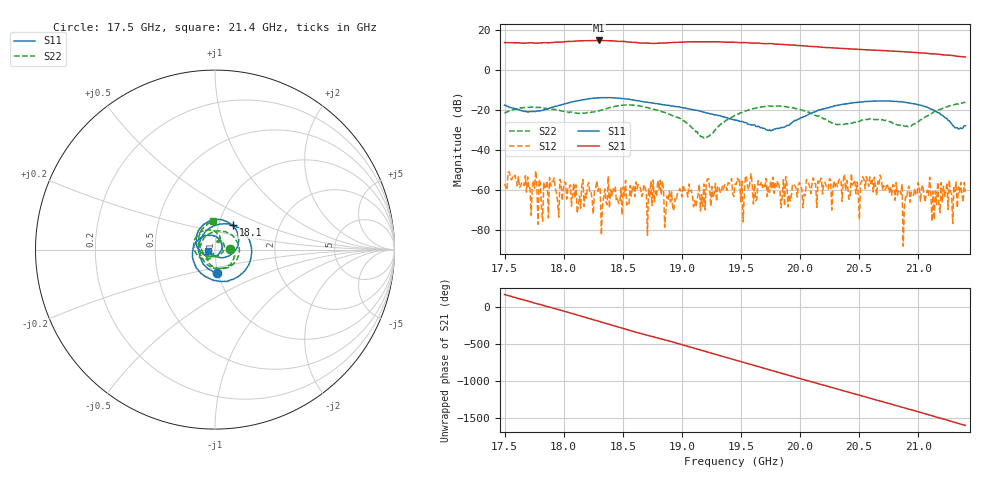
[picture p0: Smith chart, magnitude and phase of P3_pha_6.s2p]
!Created with skrf (http://scikit-rf.org).
# GHz S RI R 50.0
!freq ReS11 ImS11 ReS21 ImS21 ReS12 ImS12 ReS22 ImS22
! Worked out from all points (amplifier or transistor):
!   401 points, 17.5 GHz to 21.4 GHz, reference 50 ohm
!   highest |S21| = 14.9 dB at 18.3 GHz (marker M1)
!   |S21| within 3 dB of that: start of sweep to 20.1 GHz
!   unconditionally stable (mu >= 1): start of sweep to end of sweep
!   at 18.14 GHz: K = 252.03, MAG = 14.9 dB, |S12| = -69.1 dB
!   at 19.45 GHz: K = 69.36, MAG = 14.0 dB, |S12| = -56.9 dB
!   at 21.4 GHz: K = 248.79, MAG = 6.7 dB, |S12| = -60.8 dB
!   S11 on the Smith chart (normalised r, x): 17.5 GHz: 0.99, -0.27; 18.1 GHz: 1.17, +0.33; 21.4 GHz: 0.92, -0.01
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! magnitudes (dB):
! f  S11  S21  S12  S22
! 17.5 GHz  -17.5  13.8  -56.8  -21.6
! 17.75 GHz  -20.7  13.6  -59.0  -18.4
! 17.8 GHz  -20.3  13.7  -56.7  -18.6
! 17.9 GHz  -18.6  13.8  -55.7  -19.5
! 17.94 GHz  -18.0  14.0  -61.5  -19.9
! 18.1 GHz  -15.5  14.6  -57.4  -21.4
! 18.15 GHz  -14.9  14.7  -57.8  -21.5
! 18.3 GHz  -13.8  14.9  -58.5  -20.3
! 18.63 GHz  -15.3  13.7  -57.2  -17.8
! 18.73 GHz  -16.2  13.4  -63.3  -19.1
! 18.81 GHz  -17.0  13.6  -59.6  -20.4
! 18.86 GHz  -17.4  13.6  -70.5  -21.3
! 19.19 GHz  -21.0  14.3  -56.9  -33.9
! 19.45 GHz  -24.8  14.0  -56.9  -22.5
! 19.75 GHz  -30.3  13.3  -55.4  -18.0
! 19.92 GHz  -26.7  12.7  -65.5  -18.5
! 20.1 GHz  -21.3  11.9  -55.8  -21.7
! 20.76 GHz  -15.4  9.7  -61.2  -25.7
! 20.89 GHz  -16.1  9.2  -63.4  -28.1
! 21.02 GHz  -17.5  8.6  -65.6  -24.8
! 21.14 GHz  -20.1  8.1  -74.8  -20.7
! 21.4 GHz  -27.8  6.6  -60.8  -16.1
